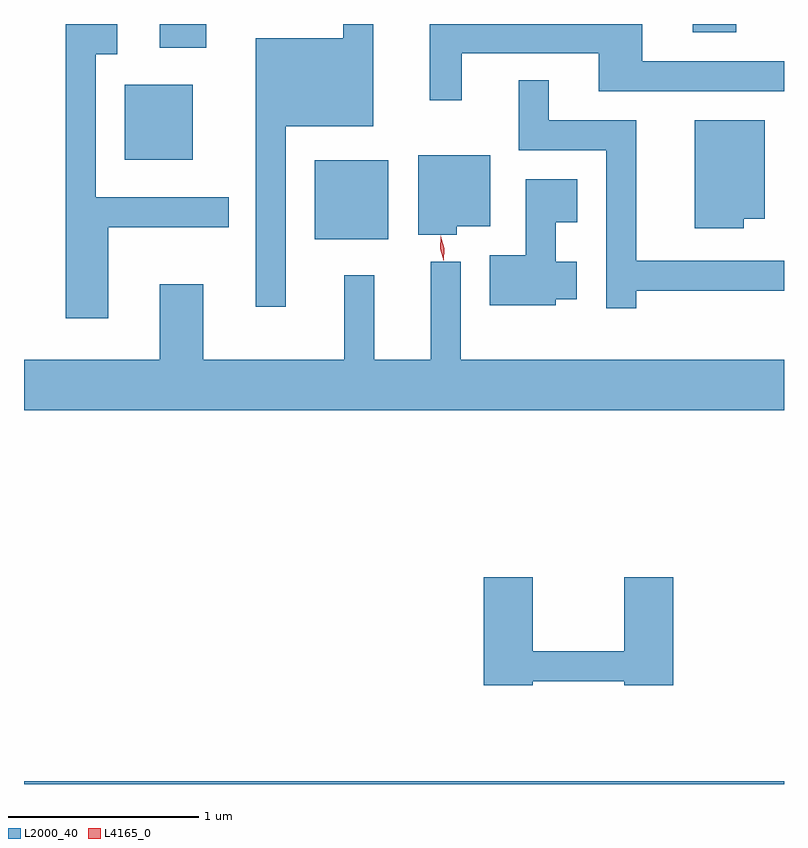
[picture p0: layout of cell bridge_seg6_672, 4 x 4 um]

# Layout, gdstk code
import gdstk
lib = gdstk.Library(unit=1e-6, precision=1e-09)
def R(c, l, rs):  # rectangles x0, y0, x1, y1
    for r in rs: c.add(gdstk.rectangle(r[:2], r[2:], *l))
def P(c, l, *ps):  # polygons
    for p in ps: c.add(gdstk.Polygon(p, *l))
L2000_40 = (2000, 40)
L4165_0 = (4165, 0)

bridge_seg6_672 = lib.new_cell('bridge_seg6_672')
R(bridge_seg6_672, L2000_40, [(387.116,1585.81,391.116,1585.824), (388.646,1588.676,389.034,1589.094), (387.646,1589.096,388.004,1589.489), (387.831,1589.686,388.074,1589.81), (390.636,1589.766,390.864,1589.81)])
P(bridge_seg6_672, L2000_40, [(388.494,1589.271),(388.954,1589.271),(388.954,1589.81),(388.796,1589.81),(388.796,1589.734),(388.336,1589.734),(388.336,1588.323),(388.494,1588.323)],
  [(387.559,1588.741),(388.193,1588.741),(388.193,1588.899),(387.494,1588.899),(387.494,1589.651),(387.608,1589.651),(387.608,1589.81),(387.336,1589.81),(387.336,1588.261),(387.559,1588.261)],
  [(389.419,1589.656),(390.141,1589.656),(390.141,1589.456),(391.116,1589.456),(391.116,1589.614),(390.369,1589.614),(390.369,1589.81),(389.251,1589.81),(389.251,1589.408),(389.419,1589.408)],
  [(390.339,1588.406),(391.116,1588.406),(391.116,1588.564),(390.339,1588.564),(390.339,1589.304),(389.879,1589.304),(389.879,1589.513),(389.721,1589.513),(389.721,1589.146),(390.181,1589.146),(390.181,1588.313),(390.339,1588.313)],
  [(390.904,1588.786),(391.014,1588.786),(391.014,1589.304),(390.646,1589.304),(390.646,1588.736),(390.904,1588.736)],
  [(389.394,1588.746),(389.569,1588.746),(389.569,1589.119),(389.191,1589.119),(389.191,1588.701),(389.394,1588.701)],
  [(389.914,1588.361),(390.024,1588.361),(390.024,1588.559),(389.914,1588.559),(389.914,1588.766),(390.029,1588.766),(390.029,1588.994),(389.756,1588.994),(389.756,1588.594),(389.566,1588.594),(389.566,1588.331),(389.914,1588.331)],
  [(391.116,1588.044),(389.414,1588.044),(389.414,1588.558),(389.256,1588.558),(389.256,1588.044),(388.959,1588.044),(388.959,1588.488),(388.801,1588.488),(388.801,1588.044),(388.059,1588.044),(388.059,1588.439),(387.831,1588.439),(387.831,1588.044),(387.116,1588.044),(387.116,1587.776),(391.116,1587.776)],
  [(389.794,1586.351),(390.276,1586.351),(390.276,1586.331),(390.534,1586.331),(390.534,1586.899),(390.276,1586.899),(390.276,1586.509),(389.794,1586.509),(389.794,1586.899),(389.536,1586.899),(389.536,1586.331),(389.794,1586.331)])
P(bridge_seg6_672, L4165_0, [(389.324,1588.563),(389.324,1588.563),(389.307,1588.628),(389.309,1588.694),(389.309,1588.695),(389.31,1588.694),(389.327,1588.63),(389.325,1588.563)])

lib.write_gds('bridge_seg6_672.gds')
